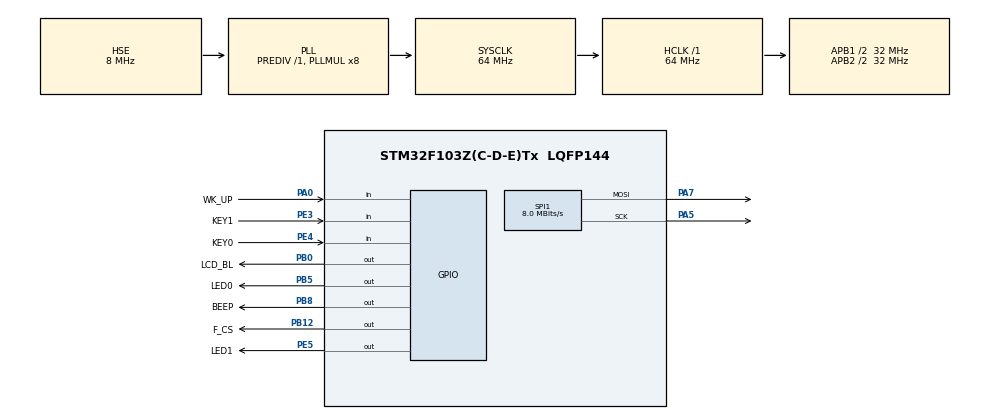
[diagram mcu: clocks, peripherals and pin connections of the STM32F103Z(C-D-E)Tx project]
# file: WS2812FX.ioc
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Dma.Request0=SPI1_TX
Dma.SPI1_TX.0.Direction=DMA_MEMORY_TO_PERIPH
Dma.SPI1_TX.0.Instance=DMA1_Channel3
Dma.SPI1_TX.0.MemDataAlignment=DMA_MDATAALIGN_BYTE
Dma.SPI1_TX.0.MemInc=DMA_MINC_ENABLE
Dma.SPI1_TX.0.Mode=DMA_NORMAL
Dma.SPI1_TX.0.PeriphDataAlignment=DMA_PDATAALIGN_BYTE
Dma.SPI1_TX.0.PeriphInc=DMA_PINC_DISABLE
Dma.SPI1_TX.0.Priority=DMA_PRIORITY_LOW
Mcu.Family=STM32F1
Mcu.Name=STM32F103Z(C-D-E)Tx
Mcu.Package=LQFP144
NVIC.DMA1_Channel3_IRQn=true\:0\:0\:false\:false\:true\:false\:true
NVIC.PriorityGroup=NVIC_PRIORITYGROUP_2
OSC_IN.Mode=HSE-External-Oscillator
OSC_IN.Signal=RCC_OSC_IN
OSC_OUT.Mode=HSE-External-Oscillator
OSC_OUT.Signal=RCC_OSC_OUT
PA0-WKUP.GPIO_Label=WK_UP
PA0-WKUP.GPIO_PuPd=GPIO_PULLDOWN
PA0-WKUP.Signal=GPIO_Input
PA13.Mode=Serial_Wire
PA13.Signal=SYS_JTMS-SWDIO
PA14.Mode=Serial_Wire
PA14.Signal=SYS_JTCK-SWCLK
PA5.Mode=TX_Only_Simplex_Unidirect_Master
PA5.Signal=SPI1_SCK
PA7.Mode=TX_Only_Simplex_Unidirect_Master
PA7.Signal=SPI1_MOSI
PB0.GPIO_Label=LCD_BL
PB0.GPIO_PuPd=GPIO_PULLUP
PB0.Signal=GPIO_Output
PB12.GPIO_Label=F_CS
PB12.GPIO_ModeDefaultOutputPP=GPIO_MODE_OUTPUT_PP
PB12.GPIO_PuPd=GPIO_PULLUP
PB12.PinState=GPIO_PIN_SET
PB12.Signal=GPIO_Output
PB5.GPIO_Label=LED0
PB5.GPIO_PuPd=GPIO_PULLUP
PB5.GPIO_Speed=GPIO_SPEED_FREQ_LOW
PB5.PinState=GPIO_PIN_SET
PB5.Signal=GPIO_Output
PB8.GPIO_Label=BEEP
PB8.GPIO_PuPd=GPIO_PULLUP
PB8.Signal=GPIO_Output
PC14-OSC32_IN.Mode=LSE-External-Oscillator
PC14-OSC32_IN.Signal=RCC_OSC32_IN
PC15-OSC32_OUT.Mode=LSE-External-Oscillator
PC15-OSC32_OUT.Signal=RCC_OSC32_OUT
PE3.GPIO_Label=KEY1
PE3.GPIO_PuPd=GPIO_PULLUP
PE3.Signal=GPIO_Input
PE4.GPIO_Label=KEY0
PE4.GPIO_PuPd=GPIO_PULLUP
PE4.Signal=GPIO_Input
PE5.GPIO_Label=LED1
PE5.GPIO_PuPd=GPIO_PULLUP
PE5.PinState=GPIO_PIN_SET
PE5.Signal=GPIO_Output
ProjectManager.HeapSize=0x200
ProjectManager.StackSize=0x400
ProjectManager.TargetToolchain=MDK-ARM V5
RCC.AHBFreq_Value=64000000
RCC.APB1CLKDivider=RCC_HCLK_DIV2
RCC.APB1Freq_Value=32000000
RCC.APB1TimFreq_Value=64000000
RCC.APB2CLKDivider=RCC_HCLK_DIV2
RCC.APB2Freq_Value=32000000
RCC.APB2TimFreq_Value=64000000
RCC.HCLKFreq_Value=64000000
RCC.PLLMUL=RCC_PLL_MUL8
RCC.PLLSourceVirtual=RCC_PLLSOURCE_HSE
RCC.SYSCLKFreq_VALUE=64000000
RCC.SYSCLKSource=RCC_SYSCLKSOURCE_PLLCLK
RCC.USBFreq_Value=64000000
SPI1.BaudRatePrescaler=SPI_BAUDRATEPRESCALER_4
SPI1.CLKPhase=SPI_PHASE_2EDGE
SPI1.CLKPolarity=SPI_POLARITY_HIGH
SPI1.CalculateBaudRate=8.0 MBits/s
SPI1.Direction=SPI_DIRECTION_2LINES
SPI1.Mode=SPI_MODE_MASTER
SPI1.VirtualType=VM_MASTER
board=custom

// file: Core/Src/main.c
/* USER CODE BEGIN Header */
/**
  ******************************************************************************
  * @file           : main.c
  * @brief          : Main program body
  ******************************************************************************
  * @attention
  *
  * <h2><center>&copy; Copyright (c) 2019 STMicroelectronics.
  * All rights reserved.</center></h2>
  *
  * This software component is licensed by ST under BSD 3-Clause license,
  * the "License"; You may not use this file except in compliance with the
  * License. You may obtain a copy of the License at:
  *                        opensource.org/licenses/BSD-3-Clause
  *
  ******************************************************************************
  */
/* USER CODE END Header */
#include "main.h"
#include "dma.h"
#include "spi.h"
#include "gpio.h"

/* USER CODE BEGIN Includes */
#include "ws2812.h"
#include "Adafruit_NeoPixel.h"
#include "WS2812FX.h"
/* USER CODE END Includes */

/* USER CODE BEGIN PD */
#define TIMER_MS 5000
/* USER CODE END PD */

void SystemClock_Config(void);

int main(void)
{
  /* USER CODE BEGIN 1 */
    uint32_t last_change = 0;
    uint32_t now = 0;
  /* USER CODE END 1 */

  /* MCU Configuration--------------------------------------------------------*/

  /* Reset of all peripherals, Initializes the Flash interface and the Systick. */
  HAL_Init();

  /* Configure the system clock */
  SystemClock_Config();

  /* Initialize all configured peripherals */
  MX_GPIO_Init();
  MX_DMA_Init();
  MX_SPI1_Init();
  /* USER CODE BEGIN 2 */
    adafruit_neopixel.NeoPixel_op = WS2812_send;// 底层数据发送函数
    ws2812fx.structure(WS2812_LINK_COUNT, NEO_GRB + NEO_KHZ800, 2, 2);
    ws2812fx.setBrightness(128);
    ws2812fx.setSpeed(0,1000);
    ws2812fx.setColor(0x007BFF);
    ws2812fx.setMode(0,FX_MODE_STATIC);
    ws2812fx.start();

  /* USER CODE END 2 */

  /* Infinite loop */
    while (1)
    {

    /* USER CODE BEGIN 3 */
        now = HAL_GetTick();;
        ws2812fx.service();
        if(now - last_change > TIMER_MS)
        {
            ws2812fx.setMode(0,(ws2812fx.getMode(0) + 1) % ws2812fx.getModeCount());
					//ws2812fx.setMode(0,55);
            last_change = now;
        }
    }
  /* USER CODE END 3 */
}

void SystemClock_Config(void)
{
  RCC_OscInitTypeDef RCC_OscInitStruct = {0};
  RCC_ClkInitTypeDef RCC_ClkInitStruct = {0};

  /** Initializes the RCC Oscillators according to the specified parameters
  * in the RCC_OscInitTypeDef structure.
  */
  RCC_OscInitStruct.OscillatorType = RCC_OSCILLATORTYPE_HSE;
  RCC_OscInitStruct.HSEState = RCC_HSE_ON;
  RCC_OscInitStruct.HSEPredivValue = RCC_HSE_PREDIV_DIV1;
  RCC_OscInitStruct.HSIState = RCC_HSI_ON;
  RCC_OscInitStruct.PLL.PLLState = RCC_PLL_ON;
  RCC_OscInitStruct.PLL.PLLSource = RCC_PLLSOURCE_HSE;
  RCC_OscInitStruct.PLL.PLLMUL = RCC_PLL_MUL8;
  if (HAL_RCC_OscConfig(&RCC_OscInitStruct) != HAL_OK)
  {
    Error_Handler();
  }
  /** Initializes the CPU, AHB and APB buses clocks
  */
  RCC_ClkInitStruct.ClockType = RCC_CLOCKTYPE_HCLK|RCC_CLOCKTYPE_SYSCLK
                              |RCC_CLOCKTYPE_PCLK1|RCC_CLOCKTYPE_PCLK2;
  RCC_ClkInitStruct.SYSCLKSource = RCC_SYSCLKSOURCE_PLLCLK;
  RCC_ClkInitStruct.AHBCLKDivider = RCC_SYSCLK_DIV1;
  RCC_ClkInitStruct.APB1CLKDivider = RCC_HCLK_DIV2;
  RCC_ClkInitStruct.APB2CLKDivider = RCC_HCLK_DIV2;

  if (HAL_RCC_ClockConfig(&RCC_ClkInitStruct, FLASH_LATENCY_2) != HAL_OK)
  {
    Error_Handler();
  }
}

void Error_Handler(void)
{
}

/************************ (C) COPYRIGHT STMicroelectronics *****END OF FILE****/
